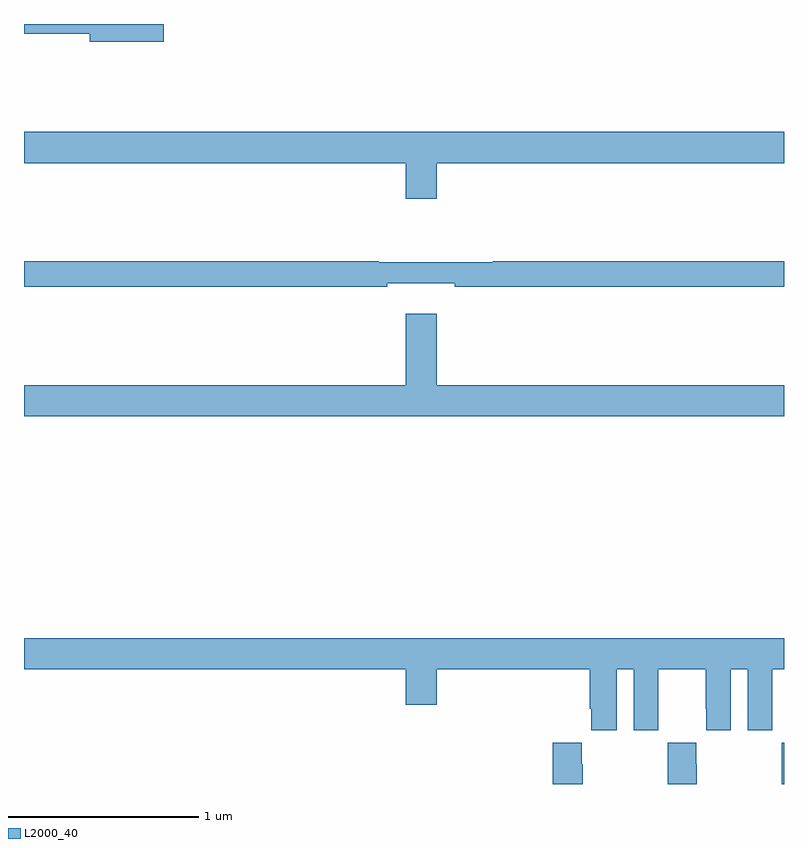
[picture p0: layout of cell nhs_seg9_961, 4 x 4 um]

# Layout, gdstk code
import gdstk
lib = gdstk.Library(unit=1e-6, precision=1e-09)
def P(c, l, *ps):  # polygons
    for p in ps: c.add(gdstk.Polygon(p, *l))
L2000_40 = (2000, 40)

nhs_seg9_961 = lib.new_cell('nhs_seg9_961')
P(nhs_seg9_961, L2000_40, [(163.735,1182.5),(163,1182.5),(163,1182.448),(163.346,1182.448),(163.346,1182.406),(163.735,1182.406)],
  [(165.172,1181.768),(167,1181.768),(167,1181.932),(163,1181.932),(163,1181.768),(165.008,1181.768),(165.008,1181.58),(165.172,1181.58)],
  [(164.912,1181.135),(165.268,1181.135),(165.268,1181.116),(167,1181.116),(167,1181.252),(165.466,1181.252),(165.466,1181.245),(164.866,1181.245),(164.866,1181.252),(163,1181.252),(163,1181.116),(164.912,1181.116)],
  [(167,1180.6),(165.172,1180.6),(165.172,1180.975),(165.008,1180.975),(165.008,1180.6),(163,1180.6),(163,1180.436),(167,1180.436)],
  [(166.12,1179.104),(166.208,1179.104),(166.208,1178.784),(166.338,1178.784),(166.338,1178.896),(166.339,1178.896),(166.339,1179.104),(166.589,1179.104),(166.589,1178.896),(166.59,1178.896),(166.59,1178.784),(166.72,1178.784),(166.72,1179.104),(166.808,1179.104),(166.808,1178.784),(166.938,1178.784),(166.938,1178.896),(166.939,1178.896),(166.939,1179.104),(167,1179.104),(167,1179.268),(163,1179.268),(163,1179.104),(165.008,1179.104),(165.008,1178.916),(165.172,1178.916),(165.172,1179.104),(165.977,1179.104),(165.977,1178.896),(165.986,1178.896),(165.986,1178.784),(166.12,1178.784)],
  [(167,1178.716),(166.989,1178.716),(166.989,1178.603),(166.987,1178.603),(166.987,1178.5),(167,1178.5)],
  [(166.542,1178.603),(166.539,1178.603),(166.539,1178.716),(166.389,1178.716),(166.389,1178.603),(166.387,1178.603),(166.387,1178.5),(166.542,1178.5)],
  [(165.942,1178.603),(165.935,1178.603),(165.935,1178.716),(165.782,1178.716),(165.782,1178.5),(165.942,1178.5)])

lib.write_gds('nhs_seg9_961.gds')
